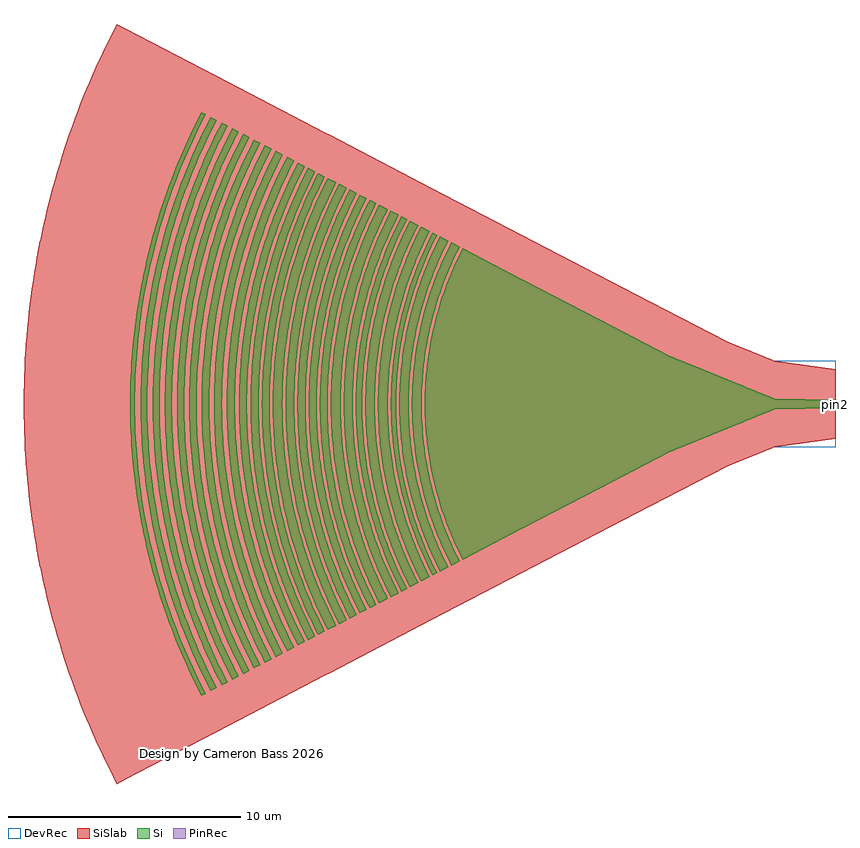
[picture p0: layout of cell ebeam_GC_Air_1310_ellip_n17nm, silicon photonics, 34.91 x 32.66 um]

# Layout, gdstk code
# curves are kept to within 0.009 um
import gdstk
lib = gdstk.Library(unit=1e-6, precision=1e-09)
def P(c, l, *ps):  # polygons
    for p in ps: c.add(gdstk.Polygon(p, *l))
Si = (1, 0)
PinRec = (1, 10)
SiSlab = (2, 0)
DevRec = (68, 0)

ebeam_gc_air_1310_ellip_ = lib.new_cell('ebeam_GC_Air_1310_ellip_n17nm')
P(ebeam_gc_air_1310_ellip_, Si, [(-16.041,-6.693),(-16.395,-5.962),(-16.768,-5.047),(-16.997,-4.379),(-17.262,-3.427),(-17.437,-2.598),(-17.564,-1.761),(-17.642,-0.917),(-17.67,-0.071),(-17.65,0.776),(-17.58,1.621),(-17.461,2.459),(-17.294,3.29),(-17.079,4.109),(-16.768,5.047),(-16.395,5.962),(-16.041,6.693),(-7.13,2.054),(-3.192,0.448),(-2.898,0.34),(-2.698,0.246),(-2.651,0.233),(0,0.175),(0,-0.175),(-2.665,-0.235),(-2.852,-0.321),(-3.207,-0.454),(-7.13,-2.054)],
  [(-16.533,-6.948),(-16.898,-6.192),(-17.234,-5.379),(-17.523,-4.548),(-17.763,-3.702),(-17.953,-2.843),(-18.093,-1.974),(-18.192,-0.953),(-18.222,-0.073),(-18.201,0.806),(-18.111,1.829),(-17.98,2.699),(-17.797,3.559),(-17.689,3.985),(-17.523,4.548),(-17.234,5.379),(-16.898,6.192),(-16.533,6.949),(-16.16,6.755),(-16.517,6.017),(-16.894,5.094),(-17.166,4.284),(-17.392,3.459),(-17.569,2.623),(-17.697,1.777),(-17.784,0.784),(-17.804,0.071),(-17.784,-0.784),(-17.697,-1.777),(-17.569,-2.622),(-17.392,-3.459),(-17.166,-4.284),(-16.894,-5.094),(-16.517,-6.017),(-16.16,-6.755)],
  [(-17.014,-7.199),(-17.392,-6.416),(-17.74,-5.574),(-18.039,-4.713),(-18.288,-3.836),(-18.484,-2.946),(-18.629,-2.046),(-18.722,-1.139),(-18.749,-0.683),(-18.763,-0.076),(-18.741,0.835),(-18.697,1.441),(-18.648,1.895),(-18.512,2.796),(-18.288,3.836),(-18.039,4.713),(-17.74,5.574),(-17.392,6.416),(-17.014,7.199),(-16.651,7.011),(-17.08,6.112),(-17.411,5.289),(-17.694,4.447),(-17.929,3.591),(-18.112,2.723),(-18.245,1.845),(-18.326,0.961),(-18.356,0.074),(-18.335,-0.813),(-18.245,-1.845),(-18.112,-2.723),(-17.929,-3.591),(-17.694,-4.447),(-17.411,-5.289),(-17.08,-6.112),(-16.651,-7.011)],
  [(-17.334,-7.366),(-17.721,-6.564),(-18.077,-5.703),(-18.383,-4.822),(-18.638,-3.925),(-18.839,-3.014),(-18.92,-2.554),(-19.007,-1.939),(-19.093,-1.01),(-19.124,-0.078),(-19.102,0.855),(-19.007,1.939),(-18.944,2.401),(-18.839,3.014),(-18.638,3.925),(-18.383,4.822),(-18.077,5.703),(-17.721,6.565),(-17.334,7.366),(-17.133,7.261),(-17.576,6.331),(-17.971,5.335),(-18.12,4.899),(-18.298,4.313),(-18.524,3.422),(-18.696,2.519),(-18.816,1.607),(-18.875,0.843),(-18.897,0.077),(-18.875,-0.843),(-18.816,-1.607),(-18.72,-2.367),(-18.556,-3.271),(-18.298,-4.313),(-18.12,-4.899),(-17.971,-5.334),(-17.576,-6.331),(-17.133,-7.261)],
  [(-17.83,-7.624),(-18.23,-6.794),(-18.481,-6.203),(-18.655,-5.752),(-18.963,-4.837),(-19.217,-3.906),(-19.416,-2.961),(-19.56,-2.007),(-19.649,-1.045),(-19.682,-0.08),(-19.658,0.885),(-19.579,1.847),(-19.444,2.803),(-19.217,3.906),(-18.963,4.837),(-18.655,5.752),(-18.481,6.203),(-18.23,6.795),(-17.83,7.624),(-17.453,7.428),(-17.907,6.477),(-18.257,5.604),(-18.557,4.713),(-18.805,3.805),(-19,2.885),(-19.14,1.955),(-19.204,1.331),(-19.236,0.862),(-19.258,0.078),(-19.236,-0.862),(-19.204,-1.331),(-19.14,-1.955),(-19,-2.885),(-18.805,-3.805),(-18.557,-4.713),(-18.257,-5.604),(-17.907,-6.477),(-17.453,-7.428)],
  [(-18.31,-7.874),(-18.724,-7.016),(-19.104,-6.095),(-19.431,-5.154),(-19.703,-4.195),(-19.918,-3.221),(-20.005,-2.73),(-20.098,-2.072),(-20.189,-1.08),(-20.223,-0.083),(-20.199,0.914),(-20.117,1.907),(-19.977,2.894),(-19.781,3.872),(-19.662,4.356),(-19.481,4.995),(-19.162,5.94),(-18.983,6.405),(-18.724,7.017),(-18.31,7.874),(-17.95,7.687),(-18.354,6.85),(-18.546,6.404),(-18.782,5.799),(-19.092,4.877),(-19.349,3.938),(-19.55,2.985),(-19.695,2.023),(-19.785,1.054),(-19.818,0.081),(-19.794,-0.892),(-19.714,-1.862),(-19.578,-2.826),(-19.489,-3.304),(-19.349,-3.937),(-19.092,-4.876),(-18.782,-5.799),(-18.354,-6.85),(-17.95,-7.687)],
  [(-18.672,-8.062),(-19.096,-7.183),(-19.486,-6.24),(-19.821,-5.276),(-20.013,-4.623),(-20.14,-4.129),(-20.35,-3.131),(-20.503,-2.121),(-20.597,-1.105),(-20.631,-0.085),(-20.607,0.935),(-20.523,1.953),(-20.38,2.963),(-20.252,3.631),(-20.139,4.129),(-20.013,4.623),(-19.821,5.276),(-19.486,6.24),(-19.026,7.338),(-18.672,8.062),(-18.429,7.937),(-18.914,6.919),(-19.17,6.3),(-19.346,5.83),(-19.509,5.354),(-19.703,4.714),(-19.874,4.065),(-19.985,3.576),(-20.164,2.587),(-20.269,1.756),(-20.334,0.921),(-20.358,0.084),(-20.334,-0.921),(-20.269,-1.756),(-20.164,-2.587),(-20.019,-3.411),(-19.913,-3.902),(-19.748,-4.551),(-19.56,-5.194),(-19.402,-5.672),(-18.981,-6.765),(-18.706,-7.376),(-18.429,-7.936)],
  [(-19.13,-8.301),(-19.567,-7.396),(-19.968,-6.425),(-20.313,-5.432),(-20.6,-4.421),(-20.826,-3.396),(-20.994,-2.358),(-21.072,-1.661),(-21.112,-1.138),(-21.148,-0.088),(-21.138,0.613),(-21.112,1.138),(-21.016,2.184),(-20.945,2.705),(-20.826,3.396),(-20.6,4.422),(-20.313,5.433),(-19.968,6.425),(-19.707,7.075),(-19.495,7.556),(-19.13,8.301),(-18.792,8.125),(-19.22,7.239),(-19.423,6.767),(-19.672,6.128),(-20,5.153),(-20.272,4.161),(-20.484,3.155),(-20.638,2.138),(-20.732,1.114),(-20.767,0.086),(-20.742,-0.943),(-20.658,-1.968),(-20.514,-2.986),(-20.42,-3.491),(-20.272,-4.161),(-20,-5.153),(-19.672,-6.128),(-19.289,-7.082),(-19.076,-7.55),(-18.792,-8.125)],
  [(-19.629,-8.561),(-20.078,-7.629),(-20.492,-6.628),(-20.847,-5.604),(-21.143,-4.561),(-21.376,-3.503),(-21.549,-2.433),(-21.659,-1.354),(-21.69,-0.813),(-21.708,-0.09),(-21.682,0.993),(-21.645,1.534),(-21.571,2.253),(-21.498,2.79),(-21.376,3.503),(-21.143,4.561),(-20.847,5.604),(-20.492,6.628),(-20.078,7.629),(-19.629,8.561),(-19.25,8.364),(-19.762,7.29),(-20.095,6.473),(-20.275,5.976),(-20.494,5.305),(-20.773,4.283),(-20.992,3.247),(-21.15,2.201),(-21.247,1.146),(-21.283,0.088),(-21.278,-0.441),(-21.247,-1.146),(-21.15,-2.2),(-20.992,-3.247),(-20.773,-4.283),(-20.494,-5.304),(-20.332,-5.808),(-20.095,-6.473),(-19.762,-7.29),(-19.25,-8.364)],
  [(-20.044,-8.777),(-20.506,-7.819),(-20.93,-6.793),(-21.295,-5.743),(-21.598,-4.674),(-21.837,-3.59),(-22.014,-2.493),(-22.127,-1.388),(-22.159,-0.833),(-22.177,-0.093),(-22.15,1.018),(-22.096,1.757),(-22.037,2.309),(-21.871,3.408),(-21.764,3.953),(-21.598,4.675),(-21.295,5.743),(-20.93,6.793),(-20.505,7.819),(-20.044,8.777),(-19.752,8.625),(-20.279,7.519),(-20.557,6.846),(-20.748,6.335),(-20.98,5.645),(-21.136,5.122),(-21.321,4.418),(-21.442,3.886),(-21.608,2.991),(-21.731,2.089),(-21.821,1.001),(-21.847,0.091),(-21.837,-0.637),(-21.768,-1.727),(-21.663,-2.63),(-21.479,-3.706),(-21.363,-4.24),(-21.185,-4.946),(-20.98,-5.644),(-20.748,-6.335),(-20.557,-6.845),(-20.279,-7.518),(-19.752,-8.625)],
  [(-20.464,-8.996),(-20.939,-8.012),(-21.374,-6.96),(-21.747,-5.885),(-22.058,-4.79),(-22.228,-4.05),(-22.338,-3.492),(-22.508,-2.366),(-22.613,-1.233),(-22.652,-0.095),(-22.641,0.664),(-22.613,1.233),(-22.508,2.366),(-22.338,3.492),(-22.228,4.051),(-22.058,4.79),(-21.747,5.885),(-21.374,6.96),(-21.164,7.489),(-20.861,8.185),(-20.464,8.996),(-20.164,8.84),(-20.473,8.213),(-20.779,7.533),(-21.057,6.841),(-21.248,6.315),(-21.423,5.784),(-21.633,5.069),(-21.774,4.526),(-21.935,3.798),(-22.096,2.88),(-22.213,1.955),(-22.285,1.025),(-22.312,0.093),(-22.294,-0.839),(-22.231,-1.77),(-22.096,-2.88),(-21.935,-3.798),(-21.774,-4.526),(-21.633,-5.068),(-21.478,-5.606),(-21.248,-6.315),(-21.057,-6.84),(-20.779,-7.533),(-20.473,-8.213),(-20.164,-8.84)],
  [(-20.899,-9.222),(-21.387,-8.21),(-21.832,-7.133),(-22.215,-6.031),(-22.534,-4.909),(-22.708,-4.15),(-22.821,-3.578),(-22.996,-2.425),(-23.103,-1.263),(-23.142,-0.097),(-23.137,0.486),(-23.103,1.263),(-22.996,2.425),(-22.821,3.579),(-22.667,4.341),(-22.534,4.909),(-22.273,5.845),(-21.901,6.951),(-21.691,7.495),(-21.387,8.211),(-20.899,9.222),(-20.588,9.06),(-20.907,8.414),(-21.22,7.717),(-21.505,7.008),(-21.701,6.47),(-21.881,5.925),(-22.096,5.192),(-22.24,4.637),(-22.405,3.891),(-22.57,2.951),(-22.69,2.003),(-22.764,1.051),(-22.792,0.096),(-22.773,-0.86),(-22.709,-1.813),(-22.598,-2.761),(-22.405,-3.891),(-22.24,-4.637),(-22.096,-5.192),(-21.881,-5.925),(-21.701,-6.47),(-21.505,-7.008),(-21.22,-7.717),(-20.907,-8.414),(-20.588,-9.06)],
  [(-21.35,-9.457),(-21.85,-8.42),(-22.307,-7.315),(-22.7,-6.185),(-23.026,-5.034),(-23.284,-3.866),(-23.475,-2.685),(-23.544,-2.09),(-23.61,-1.295),(-23.65,-0.1),(-23.645,0.498),(-23.61,1.296),(-23.5,2.487),(-23.321,3.67),(-23.073,4.84),(-22.925,5.419),(-22.759,5.994),(-22.377,7.128),(-22.162,7.687),(-21.93,8.238),(-21.684,8.783),(-21.35,9.457),(-21.018,9.284),(-21.261,8.798),(-21.589,8.087),(-21.816,7.545),(-22.094,6.814),(-22.344,6.071),(-22.512,5.509),(-22.711,4.751),(-22.881,3.987),(-23.05,3.024),(-23.173,2.052),(-23.249,1.076),(-23.277,0.098),(-23.258,-0.881),(-23.192,-1.858),(-23.079,-2.829),(-22.881,-3.986),(-22.711,-4.751),(-22.512,-5.509),(-22.344,-6.071),(-22.094,-6.814),(-21.816,-7.545),(-21.589,-8.087),(-21.345,-8.621),(-21.018,-9.284)],
  [(-21.838,-9.71),(-22.266,-8.834),(-22.593,-8.083),(-22.819,-7.512),(-23.223,-6.352),(-23.558,-5.17),(-23.742,-4.371),(-23.86,-3.769),(-24.044,-2.554),(-24.157,-1.33),(-24.187,-0.716),(-24.198,-0.102),(-24.169,1.126),(-24.068,2.351),(-23.961,3.162),(-23.86,3.769),(-23.742,4.371),(-23.606,4.971),(-23.454,5.566),(-23.283,6.156),(-23.096,6.741),(-22.891,7.321),(-22.67,7.894),(-22.432,8.46),(-22.179,9.02),(-21.838,9.711),(-21.469,9.519),(-21.805,8.84),(-22.054,8.292),(-22.504,7.175),(-22.887,6.034),(-23.205,4.872),(-23.454,3.694),(-23.634,2.503),(-23.698,1.905),(-23.744,1.304),(-23.785,0.1),(-23.766,-0.903),(-23.698,-1.905),(-23.634,-2.503),(-23.552,-3.099),(-23.378,-4.088),(-23.205,-4.872),(-23.054,-5.454),(-22.828,-6.225),(-22.639,-6.797),(-22.361,-7.55),(-22.134,-8.108),(-21.805,-8.84),(-21.469,-9.519)],
  [(-22.252,-9.926),(-22.69,-9.029),(-23.024,-8.261),(-23.256,-7.678),(-23.538,-6.89),(-23.73,-6.292),(-24.061,-5.081),(-24.319,-3.852),(-24.422,-3.232),(-24.507,-2.61),(-24.623,-1.36),(-24.665,-0.105),(-24.659,0.524),(-24.635,1.151),(-24.532,2.402),(-24.453,3.025),(-24.356,3.646),(-24.241,4.264),(-24.061,5.081),(-23.73,6.292),(-23.538,6.89),(-23.256,7.678),(-23.024,8.262),(-22.775,8.839),(-22.252,9.926),(-21.957,9.773),(-22.3,9.077),(-22.556,8.515),(-22.871,7.753),(-23.088,7.174),(-23.288,6.589),(-23.527,5.801),(-23.737,5.003),(-23.874,4.4),(-23.993,3.793),(-24.094,3.183),(-24.223,2.161),(-24.303,1.133),(-24.333,0.103),(-24.303,-1.133),(-24.223,-2.161),(-24.094,-3.182),(-23.993,-3.793),(-23.874,-4.4),(-23.737,-5.003),(-23.527,-5.8),(-23.288,-6.588),(-23.088,-7.174),(-22.795,-7.944),(-22.556,-8.514),(-22.3,-9.077),(-21.957,-9.773)],
  [(-22.686,-10.152),(-22.953,-9.62),(-23.224,-9.037),(-23.478,-8.447),(-23.715,-7.851),(-24.136,-6.638),(-24.378,-5.816),(-24.538,-5.195),(-24.679,-4.568),(-24.802,-3.939),(-24.908,-3.305),(-24.995,-2.669),(-25.063,-2.03),(-25.113,-1.39),(-25.144,-0.749),(-25.156,-0.107),(-25.15,0.536),(-25.125,1.177),(-25.082,1.817),(-25.02,2.456),(-24.939,3.094),(-24.84,3.728),(-24.722,4.36),(-24.538,5.195),(-24.378,5.816),(-24.199,6.434),(-24.003,7.046),(-23.79,7.651),(-23.559,8.25),(-23.31,8.842),(-23.045,9.427),(-22.686,10.152),(-22.374,9.99),(-22.726,9.277),(-22.988,8.702),(-23.31,7.923),(-23.531,7.332),(-23.8,6.533),(-23.98,5.928),(-24.195,5.113),(-24.335,4.497),(-24.527,3.462),(-24.67,2.418),(-24.761,1.368),(-24.792,0.738),(-24.804,0.105),(-24.784,-0.948),(-24.692,-2.208),(-24.56,-3.253),(-24.335,-4.497),(-24.195,-5.113),(-23.98,-5.928),(-23.8,-6.533),(-23.531,-7.332),(-23.31,-7.923),(-22.988,-8.702),(-22.726,-9.277),(-22.374,-9.99)],
  [(-23.118,-10.377),(-23.394,-9.827),(-23.671,-9.232),(-24.173,-8.02),(-24.604,-6.781),(-24.792,-6.152),(-24.962,-5.519),(-25.245,-4.239),(-25.359,-3.592),(-25.454,-2.944),(-25.53,-2.292),(-25.602,-1.42),(-25.634,-0.765),(-25.646,-0.109),(-25.64,0.547),(-25.615,1.202),(-25.551,2.075),(-25.481,2.727),(-25.392,3.377),(-25.285,4.024),(-25.112,4.881),(-24.962,5.519),(-24.792,6.153),(-24.604,6.781),(-24.397,7.404),(-24.173,8.02),(-23.846,8.831),(-23.581,9.431),(-23.118,10.377),(-22.822,10.224),(-23.184,9.489),(-23.538,8.704),(-23.782,8.105),(-24.008,7.5),(-24.283,6.683),(-24.468,6.064),(-24.688,5.23),(-24.831,4.6),(-25.028,3.541),(-25.121,2.901),(-25.196,2.259),(-25.279,1.185),(-25.311,0.108),(-25.29,-0.97),(-25.196,-2.259),(-25.028,-3.541),(-24.831,-4.6),(-24.688,-5.23),(-24.468,-6.064),(-24.283,-6.683),(-24.008,-7.5),(-23.782,-8.105),(-23.452,-8.901),(-23.184,-9.489),(-22.822,-10.223)],
  [(-23.587,-10.622),(-23.873,-10.052),(-24.157,-9.444),(-24.422,-8.827),(-24.67,-8.204),(-24.9,-7.573),(-25.111,-6.937),(-25.304,-6.293),(-25.478,-5.646),(-25.632,-4.992),(-25.808,-4.116),(-25.919,-3.453),(-26.01,-2.789),(-26.081,-2.121),(-26.133,-1.453),(-26.166,-0.782),(-26.179,-0.112),(-26.172,0.56),(-26.146,1.23),(-26.101,1.899),(-26.01,2.789),(-25.919,3.454),(-25.808,4.116),(-25.632,4.993),(-25.478,5.646),(-25.304,6.294),(-25.111,6.937),(-24.9,7.573),(-24.67,8.204),(-24.422,8.828),(-24.156,9.444),(-23.873,10.053),(-23.587,10.622),(-23.28,10.462),(-23.654,9.705),(-23.928,9.104),(-24.184,8.494),(-24.497,7.671),(-24.711,7.045),(-24.968,6.202),(-25.193,5.349),(-25.339,4.705),(-25.541,3.621),(-25.69,2.529),(-25.753,1.871),(-25.798,1.212),(-25.83,0.11),(-25.809,-0.992),(-25.771,-1.651),(-25.713,-2.31),(-25.575,-3.404),(-25.339,-4.705),(-25.14,-5.563),(-24.968,-6.202),(-24.711,-7.044),(-24.497,-7.67),(-24.184,-8.494),(-23.928,-9.104),(-23.654,-9.705),(-23.28,-10.462)],
  [(-24.07,-10.873),(-24.562,-9.87),(-24.928,-9.03),(-25.182,-8.393),(-25.417,-7.748),(-25.633,-7.096),(-25.83,-6.438),(-26.008,-5.776),(-26.166,-5.107),(-26.347,-4.211),(-26.46,-3.533),(-26.553,-2.853),(-26.626,-2.17),(-26.679,-1.486),(-26.713,-0.8),(-26.726,-0.114),(-26.719,0.573),(-26.693,1.258),(-26.646,1.943),(-26.553,2.854),(-26.46,3.533),(-26.347,4.211),(-26.214,4.885),(-26.062,5.554),(-25.892,6.218),(-25.701,6.878),(-25.417,7.749),(-25.182,8.393),(-24.928,9.031),(-24.562,9.87),(-24.07,10.873),(-23.768,10.716),(-24.154,9.935),(-24.435,9.319),(-24.697,8.695),(-24.941,8.064),(-25.166,7.426),(-25.438,6.565),(-25.619,5.913),(-25.833,5.036),(-25.969,4.373),(-26.087,3.707),(-26.24,2.589),(-26.338,1.465),(-26.371,0.79),(-26.384,0.113),(-26.362,-1.015),(-26.264,-2.365),(-26.122,-3.484),(-26.011,-4.151),(-25.88,-4.815),(-25.731,-5.475),(-25.5,-6.348),(-25.306,-6.996),(-25.018,-7.852),(-24.781,-8.485),(-24.435,-9.319),(-24.057,-10.138),(-23.768,-10.716)],
  [(-24.54,-11.118),(-24.845,-10.512),(-25.142,-9.875),(-25.42,-9.23),(-25.679,-8.579),(-25.92,-7.919),(-26.141,-7.254),(-26.405,-6.356),(-26.581,-5.677),(-26.735,-4.992),(-26.871,-4.304),(-26.986,-3.611),(-27.081,-2.917),(-27.156,-2.218),(-27.211,-1.519),(-27.245,-0.818),(-27.258,-0.117),(-27.245,0.818),(-27.211,1.52),(-27.156,2.219),(-27.081,2.917),(-26.986,3.612),(-26.871,4.304),(-26.735,4.993),(-26.581,5.677),(-26.405,6.357),(-26.141,7.254),(-25.92,7.919),(-25.679,8.579),(-25.42,9.231),(-25.141,9.875),(-24.845,10.512),(-24.54,11.118),(-24.249,10.967),(-24.648,10.162),(-24.936,9.532),(-25.289,8.679),(-25.532,8.031),(-25.827,7.156),(-26.025,6.494),(-26.261,5.601),(-26.414,4.926),(-26.626,3.792),(-26.782,2.648),(-26.883,1.499),(-26.916,0.808),(-26.929,0.115),(-26.923,-0.576),(-26.896,-1.269),(-26.806,-2.419),(-26.726,-3.106),(-26.626,-3.792),(-26.414,-4.925),(-26.261,-5.6),(-26.025,-6.493),(-25.827,-7.156),(-25.532,-8.031),(-25.289,-8.679),(-24.936,-9.532),(-24.648,-10.162),(-24.249,-10.967)],
  [(-25.013,-11.364),(-25.326,-10.741),(-25.63,-10.092),(-25.913,-9.433),(-26.179,-8.767),(-26.424,-8.093),(-26.65,-7.413),(-26.857,-6.725),(-27.043,-6.033),(-27.207,-5.335),(-27.353,-4.633),(-27.477,-3.927),(-27.582,-3.218),(-27.665,-2.505),(-27.728,-1.791),(-27.779,-0.836),(-27.793,-0.12),(-27.786,0.598),(-27.758,1.314),(-27.709,2.03),(-27.612,2.981),(-27.514,3.692),(-27.397,4.398),(-27.258,5.102),(-27.043,6.034),(-26.857,6.726),(-26.65,7.413),(-26.424,8.093),(-26.179,8.767),(-25.913,9.434),(-25.63,10.092),(-25.326,10.741),(-25.013,11.364),(-24.729,11.217),(-25.139,10.39),(-25.433,9.746),(-25.707,9.093),(-26.043,8.212),(-26.272,7.542),(-26.482,6.866),(-26.672,6.184),(-26.895,5.267),(-27.123,4.11),(-27.232,3.41),(-27.321,2.708),(-27.39,2.003),(-27.438,1.297),(-27.472,0.118),(-27.465,-0.589),(-27.438,-1.297),(-27.346,-2.473),(-27.198,-3.644),(-27.082,-4.342),(-26.945,-5.036),(-26.788,-5.726),(-26.547,-6.639),(-26.272,-7.542),(-26.043,-8.212),(-25.707,-9.093),(-25.433,-9.746),(-25.037,-10.603),(-24.729,-11.216)],
  [(-25.475,-11.604),(-25.795,-10.967),(-26.105,-10.304),(-26.394,-9.631),(-26.665,-8.951),(-26.916,-8.263),(-27.147,-7.569),(-27.358,-6.867),(-27.548,-6.16),(-27.768,-5.209),(-27.909,-4.491),(-28.03,-3.768),(-28.129,-3.043),(-28.207,-2.315),(-28.264,-1.585),(-28.299,-0.854),(-28.314,-0.122),(-28.299,0.855),(-28.264,1.585),(-28.207,2.315),(-28.129,3.043),(-28.03,3.768),(-27.909,4.491),(-27.768,5.209),(-27.548,6.16),(-27.358,6.867),(-27.147,7.569),(-26.916,8.263),(-26.665,8.952),(-26.394,9.632),(-26.104,10.304),(-25.795,10.967),(-25.475,11.604),(-25.203,11.463),(-25.623,10.617),(-25.923,9.959),(-26.293,9.068),(-26.547,8.391),(-26.855,7.477),(-27.062,6.785),(-27.25,6.085),(-27.418,5.382),(-27.564,4.673),(-27.69,3.962),(-27.853,2.767),(-27.923,2.047),(-27.972,1.326),(-28.007,0.121),(-27.984,-1.085),(-27.942,-1.806),(-27.879,-2.527),(-27.795,-3.245),(-27.69,-3.961),(-27.564,-4.673),(-27.418,-5.382),(-27.251,-6.085),(-26.995,-7.016),(-26.781,-7.706),(-26.547,-8.391),(-26.293,-9.068),(-25.923,-9.959),(-25.623,-10.617),(-25.203,-11.463)],
  [(-25.94,-11.846),(-26.267,-11.196),(-26.584,-10.518),(-26.879,-9.832),(-27.156,-9.138),(-27.412,-8.435),(-27.648,-7.726),(-27.863,-7.01),(-28.057,-6.288),(-28.281,-5.317),(-28.426,-4.584),(-28.548,-3.846),(-28.65,-3.106),(-28.73,-2.363),(-28.788,-1.618),(-28.824,-0.871),(-28.838,-0.125),(-28.824,0.871),(-28.788,1.618),(-28.73,2.363),(-28.65,3.107),(-28.548,3.847),(-28.426,4.584),(-28.281,5.318),(-28.057,6.288),(-27.863,7.01),(-27.648,7.726),(-27.412,8.435),(-27.156,9.138),(-26.879,9.833),(-26.584,10.518),(-26.267,11.196),(-25.94,11.847),(-25.673,11.708),(-25.996,11.065),(-26.409,10.171),(-26.695,9.489),(-26.962,8.801),(-27.208,8.104),(-27.504,7.165),(-27.764,6.215),(-27.935,5.496),(-28.173,4.288),(-28.287,3.558),(-28.38,2.826),(-28.452,2.09),(-28.502,1.354),(-28.538,0.123),(-28.53,-0.615),(-28.502,-1.354),(-28.406,-2.581),(-28.32,-3.314),(-28.213,-4.045),(-27.988,-5.256),(-27.824,-5.976),(-27.573,-6.928),(-27.285,-7.87),(-27.046,-8.569),(-26.695,-9.489),(-26.409,-10.17),(-25.996,-11.064),(-25.673,-11.708)],
  [(-26.399,-12.085),(-26.733,-11.421),(-27.056,-10.73),(-27.454,-9.795),(-27.639,-9.321),(-27.901,-8.604),(-28.141,-7.881),(-28.36,-7.15),(-28.558,-6.415),(-28.787,-5.424),(-28.935,-4.676),(-29.06,-3.924),(-29.163,-3.169),(-29.245,-2.41),(-29.304,-1.651),(-29.341,-0.889),(-29.356,-0.127),(-29.348,0.636),(-29.319,1.397),(-29.267,2.158),(-29.193,2.917),(-29.097,3.673),(-28.935,4.676),(-28.787,5.425),(-28.618,6.168),(-28.429,6.906),(-28.217,7.639),(-27.983,8.365),(-27.729,9.083),(-27.454,9.795),(-27.056,10.73),(-26.733,11.421),(-26.399,12.085),(-26.142,11.952),(-26.581,11.068),(-26.894,10.382),(-27.279,9.453),(-27.544,8.748),(-27.788,8.034),(-28.082,7.073),(-28.277,6.344),(-28.452,5.611),(-28.605,4.872),(-28.736,4.13),(-28.906,2.885),(-29.016,1.633),(-29.052,0.88),(-29.067,0.126),(-29.059,-0.628),(-29.03,-1.382),(-28.933,-2.635),(-28.845,-3.383),(-28.736,-4.13),(-28.605,-4.872),(-28.452,-5.611),(-28.277,-6.344),(-28.012,-7.314),(-27.788,-8.033),(-27.544,-8.747),(-27.279,-9.453),(-26.894,-10.382),(-26.581,-11.068),(-26.142,-11.952)],
  [(-26.869,-12.33),(-27.202,-11.666),(-27.532,-10.96),(-27.84,-10.245),(-28.219,-9.278),(-28.478,-8.544),(-28.716,-7.803),(-28.932,-7.054),(-29.127,-6.3),(-29.298,-5.54),(-29.448,-4.777),(-29.576,-4.008),(-29.682,-3.237),(-29.764,-2.462),(-29.825,-1.686),(-29.863,-0.908),(-29.878,-0.13),(-29.863,0.908),(-29.825,1.686),(-29.764,2.462),(-29.682,3.237),(-29.576,4.009),(-29.448,4.777),(-29.298,5.541),(-29.127,6.3),(-28.932,7.055),(-28.716,7.803),(-28.478,8.545),(-28.219,9.279),(-27.84,10.245),(-27.532,10.96),(-27.202,11.667),(-26.869,12.331),(-26.609,12.196),(-27.057,11.293),(-27.377,10.593),(-27.77,9.645),(-28.04,8.925),(-28.289,8.197),(-28.517,7.462),(-28.724,6.721),(-28.966,5.725),(-29.214,4.466),(-29.333,3.706),(-29.43,2.943),(-29.504,2.177),(-29.556,1.41),(-29.594,0.128),(-29.569,-1.154),(-29.524,-1.921),(-29.457,-2.688),(-29.296,-3.96),(-29.169,-4.719),(-29.021,-5.474),(-28.85,-6.224),(-28.588,-7.216),(-28.368,-7.953),(-28.04,-8.925),(-27.77,-9.645),(-27.377,-10.593),(-27.057,-11.293),(-26.609,-12.195)],
  [(-27.267,-12.538),(-27.614,-11.846),(-27.949,-11.129),(-28.261,-10.403),(-28.553,-9.668),(-28.824,-8.926),(-29.073,-8.175),(-29.3,-7.417),(-29.505,-6.654),(-29.686,-5.884),(-29.846,-5.11),(-29.984,-4.33),(-30.099,-3.549),(-30.216,-2.5),(-30.272,-1.793),(-30.316,-0.922),(-30.331,-0.132),(-30.323,0.659),(-30.293,1.449),(-30.239,2.239),(-30.132,3.287),(-30.025,4.07),(-29.895,4.851),(-29.742,5.626),(-29.567,6.398),(-29.371,7.163),(-29.151,7.923),(-28.91,8.676),(-28.646,9.422),(-28.361,10.16),(-27.949,11.13),(-27.614,11.847),(-27.267,12.538),(-27.088,12.445),(-27.424,11.773),(-27.757,11.062),(-28.068,10.34),(-28.45,9.364),(-28.712,8.623),(-28.952,7.875),(-29.17,7.12),(-29.427,6.104),(-29.692,4.821),(-29.821,4.046),(-29.927,3.267),(-30.011,2.486),(-30.072,1.702),(-30.11,0.917),(-30.125,0.131),(-30.1,-1.179),(-30.054,-1.963),(-29.985,-2.746),(-29.894,-3.526),(-29.78,-4.305),(-29.644,-5.078),(-29.485,-5.848),(-29.304,-6.613),(-29.1,-7.372),(-28.874,-8.125),(-28.54,-9.118),(-28.264,-9.854),(-27.863,-10.822),(-27.537,-11.537),(-27.088,-12.445)])
P(ebeam_gc_air_1310_ellip_, SiSlab, [(-30.904,-16.329),(-31.366,-15.41),(-31.801,-14.477),(-32.208,-13.533),(-32.588,-12.577),(-32.94,-11.61),(-33.264,-10.634),(-33.559,-9.648),(-33.825,-8.655),(-34.062,-7.654),(-34.27,-6.647),(-34.449,-5.634),(-34.598,-4.616),(-34.717,-3.594),(-34.807,-2.569),(-34.867,-1.543),(-34.9,-0.171),(-34.89,0.857),(-34.85,1.885),(-34.781,2.912),(-34.681,3.935),(-34.552,4.956),(-34.393,5.972),(-34.135,7.319),(-33.907,8.322),(-33.651,9.318),(-33.365,10.307),(-33.051,11.286),(-32.709,12.256),(-32.338,13.216),(-31.94,14.164),(-31.366,15.41),(-30.904,16.329),(-4.744,2.708),(-2.65,1.855),(0,1.5),(0,-1.5),(-2.65,-1.855),(-4.728,-2.7)])
P(ebeam_gc_air_1310_ellip_, DevRec, [(-30.904,-16.329),(-31.366,-15.41),(-31.801,-14.477),(-32.208,-13.533),(-32.588,-12.577),(-32.94,-11.61),(-33.264,-10.634),(-33.559,-9.648),(-33.825,-8.655),(-34.062,-7.654),(-34.27,-6.647),(-34.449,-5.634),(-34.598,-4.616),(-34.717,-3.594),(-34.807,-2.569),(-34.867,-1.543),(-34.9,-0.171),(-34.89,0.857),(-34.85,1.885),(-34.781,2.912),(-34.681,3.935),(-34.552,4.956),(-34.393,5.972),(-34.135,7.319),(-33.907,8.322),(-33.651,9.318),(-33.365,10.307),(-33.051,11.286),(-32.709,12.256),(-32.338,13.216),(-31.94,14.164),(-31.366,15.41),(-30.904,16.329),(-4.744,2.708),(-2.65,1.855),(0,1.855),(0,-1.855),(-2.65,-1.855),(-4.728,-2.7)])
ebeam_gc_air_1310_ellip_.add(gdstk.FlexPath([(-0.01,0),(0.01,0)], 0.35, ends="flush", simple_path=True, layer=1, datatype=10))  # PinRec
ebeam_gc_air_1310_ellip_.add(gdstk.Label('pin2', (0,0), layer=1, texttype=10))
ebeam_gc_air_1310_ellip_.add(gdstk.Label('Design by Cameron Bass 2026', (-25.94,-15.02), layer=10, texttype=0))

lib.write_gds('ebeam_GC_Air_1310_ellip_n17nm.gds')
